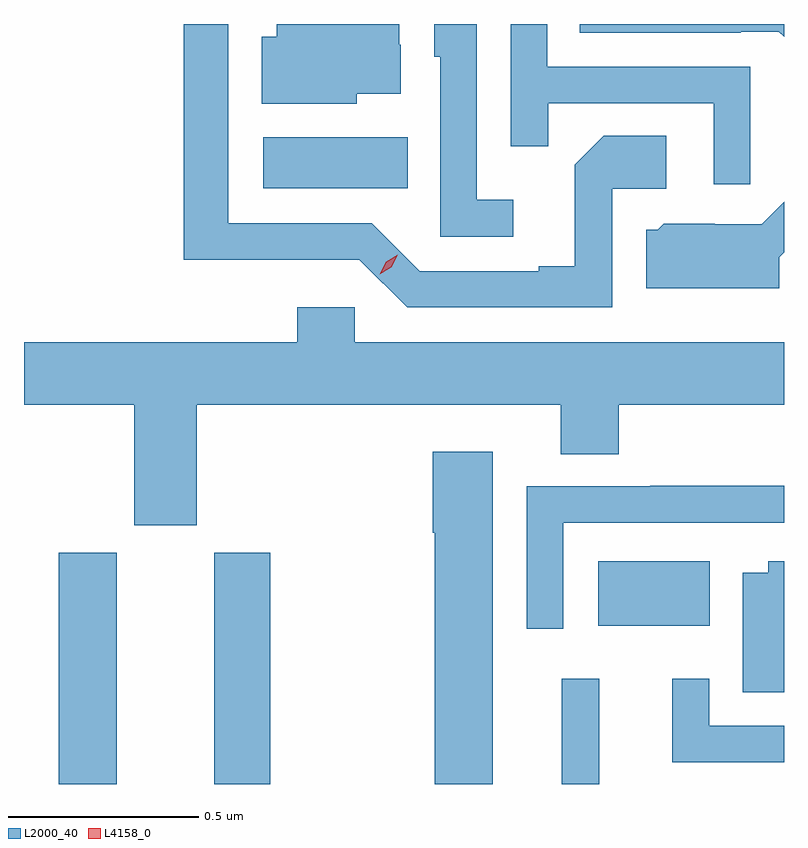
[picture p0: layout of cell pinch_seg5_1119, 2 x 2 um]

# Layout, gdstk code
import gdstk
lib = gdstk.Library(unit=1e-6, precision=1e-09)
def R(c, l, rs):  # rectangles x0, y0, x1, y1
    for r in rs: c.add(gdstk.rectangle(r[:2], r[2:], *l))
def P(c, l, *ps):  # polygons
    for p in ps: c.add(gdstk.Polygon(p, *l))
L2000_40 = (2000, 40)
L4158_0 = (4158, 0)

pinch_seg5_1119 = lib.new_cell('pinch_seg5_1119')
R(pinch_seg5_1119, L2000_40, [(796.178,863.754,796.33,864.363), (796.586,863.754,796.734,864.363), (797.501,863.754,797.6,864.031), (797.597,864.17,797.89,864.34), (796.716,865.322,797.096,865.456)])
P(pinch_seg5_1119, L2000_40, [(798.086,865.754),(797.548,865.754),(797.548,865.731),(797.972,865.731),(797.972,865.734),(798.072,865.734),(798.086,865.72)],
  [(797.374,865.291),(797.277,865.291),(797.277,865.754),(797.166,865.754),(797.166,865.668),(797.181,865.668),(797.181,865.194),(797.374,865.194)],
  [(797.634,865.32),(797.776,865.32),(797.776,865.46),(797.611,865.46),(797.535,865.384),(797.535,865.117),(797.441,865.117),(797.441,865.104),(797.127,865.104),(797.001,865.23),(796.624,865.23),(796.624,865.754),(796.506,865.754),(796.506,865.133),(796.746,865.133),(796.746,865.134),(796.968,865.134),(797.094,865.008),(797.634,865.008)],
  [(796.962,865.571),(797.077,865.571),(797.077,865.7),(797.073,865.7),(797.073,865.754),(796.751,865.754),(796.751,865.72),(796.712,865.72),(796.712,865.544),(796.962,865.544)],
  [(797.997,865.641),(797.463,865.641),(797.463,865.754),(797.367,865.754),(797.367,865.432),(797.465,865.432),(797.465,865.545),(797.901,865.545),(797.901,865.332),(797.997,865.332)],
  [(798.073,865.14),(798.086,865.153),(798.086,865.286),(798.027,865.227),(797.904,865.227),(797.904,865.228),(797.77,865.228),(797.754,865.212),(797.723,865.212),(797.723,865.058),(798.073,865.058)],
  [(796.54,864.752),(797.498,864.752),(797.498,864.622),(797.651,864.622),(797.651,864.752),(798.086,864.752),(798.086,864.916),(796.956,864.916),(796.956,865.009),(796.805,865.009),(796.805,864.916),(796.086,864.916),(796.086,864.752),(796.376,864.752),(796.376,864.435),(796.54,864.435)],
  [(797.32,864.628),(797.162,864.628),(797.162,864.415),(797.167,864.415),(797.167,863.754),(797.32,863.754)],
  [(797.505,864.441),(798.086,864.441),(798.086,864.539),(797.734,864.539),(797.734,864.537),(797.409,864.537),(797.409,864.162),(797.505,864.162)],
  [(798.086,864.34),(798.044,864.34),(798.044,864.31),(797.978,864.31),(797.978,863.996),(798.086,863.996)],
  [(798.086,863.907),(797.889,863.907),(797.889,864.031),(797.792,864.031),(797.792,863.811),(798.086,863.811)])
P(pinch_seg5_1119, L4158_0, [(797.022,865.095),(797.022,865.095),(797.039,865.128),(797.07,865.147),(797.07,865.147),(797.07,865.147),(797.053,865.114),(797.022,865.095)])

lib.write_gds('pinch_seg5_1119.gds')
